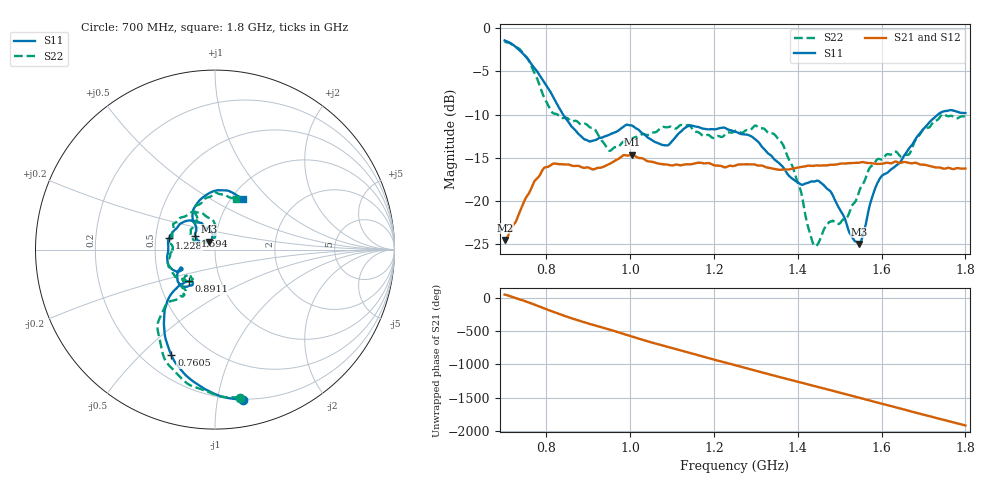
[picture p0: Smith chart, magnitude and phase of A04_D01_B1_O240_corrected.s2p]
! Created with skrf 1.9.0 (http://scikit-rf.org).
# Hz S RI R 50.0
!freq ReS11 ImS11 ReS21 ImS21 ReS12 ImS12 ReS22 ImS22
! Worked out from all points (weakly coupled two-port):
!   1601 points, 700 MHz to 1.8 GHz, reference 50 ohm
!   highest |S21| = -14.62 dB at 1.004 GHz (marker M1); lowest = -24.5 dB at 700.7 MHz (marker M2)
!   lowest |S11| = -25.0 dB at 1.547 GHz (marker M3), VSWR 1.12, Z = 46.5 + j4.19 ohm
!   |S11| at or under -10 dB: 839.7 MHz to 1.734 GHz (894 MHz wide, 69.5 % of centre)
!   |S22| runs from -25.2 to -1.6 dB; largest |S21 - S12| = 0.0038
!   S11 on the Smith chart (normalised r, x): 700 MHz: 0.20, -1.19; 760.5 MHz: 0.31, -0.62; 891.1 MHz: 0.71, -0.26; 1.228 GHz: 0.59, +0.08; 1.594 GHz: 0.79, +0.12; 1.8 GHz: 1.13, +0.71
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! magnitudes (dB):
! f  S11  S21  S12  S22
! 700 MHz  -1.4  -24.5  -24.3  -1.6
! 700.7 MHz  -1.4  -24.5  -24.2  -1.6
! 760.5 MHz  -3.9  -18.9  -18.7  -4.0
! 812.8 MHz  -7.6  -15.7  -15.7  -9.7
! 883.6 MHz  -12.5  -16.1  -16.0  -11.1
! 891.1 MHz  -12.9  -16.1  -16.2  -11.1
! 950.2 MHz  -12.3  -15.7  -15.7  -14.2
! 1.004 GHz  -11.2  -14.6  -14.8  -12.8
! 1.067 GHz  -13.3  -15.7  -15.6  -11.8
! 1.228 GHz  -11.6  -16.1  -16.0  -12.2
! 1.25 GHz  -12.0  -15.9  -15.8  -11.9
! 1.361 GHz  -15.9  -16.4  -16.4  -13.2
! 1.405 GHz  -18.0  -16.1  -16.1  -18.5
! 1.434 GHz  -17.7  -15.9  -15.9  -24.5
! 1.478 GHz  -18.9  -15.8  -15.8  -22.4
! 1.516 GHz  -22.6  -15.6  -15.6  -22.0
! 1.547 GHz  -25.0  -15.5  -15.5  -18.8
! 1.594 GHz  -17.5  -15.7  -15.7  -15.1
! 1.617 GHz  -16.6  -15.6  -15.6  -14.6
! 1.664 GHz  -14.0  -15.6  -15.6  -14.6
! 1.735 GHz  -10.0  -16.1  -16.2  -10.6
! 1.8 GHz  -9.8  -16.2  -16.2  -10.3
